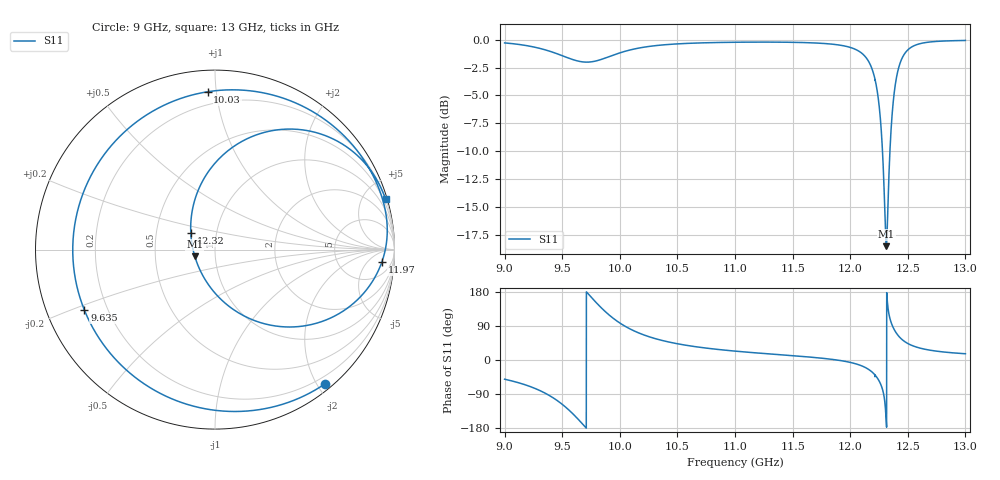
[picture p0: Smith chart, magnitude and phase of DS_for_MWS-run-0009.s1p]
! TOUCHSTONE file generated by CST DESIGN STUDIO
! Date and time: Tue Feb  4 17:09:49 2025
! Project name: C:\Work\MatlabApps\UnitCellOptimizationMatlab\CST\unitcell.cst
! Tree item: Tasks\Sweep1\SPara1\S-Parameters
! Header version: 2024
! Port assignment regex: !\s*Touchstone port\s*([0-9]+)\s*=\s*(CST MWS port|CST DES external port|CST DES block port)\s*(.+)\s* \(\"(.*)\"\)(\s*mode\s*([0-9]+))?.*
! Touchstone port assignment:
! Touchstone port 1 = CST DES external port 1 ("")
# GHz S MA R 50
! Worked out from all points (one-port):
!   4001 points, 9 GHz to 13 GHz, reference 50 ohm
!   lowest |S11| = -18.5 dB at 12.31 GHz (marker M1), VSWR 1.27, Z = 39.8 - j2.97 ohm
!   |S11| at or under -10 dB: 12.28 GHz to 12.34 GHz (64.51 MHz wide, 0.524 % of centre)
!   S11 on the Smith chart (normalised r, x): 9 GHz: 0.09, -2.11; 9.635 GHz: 0.12, -0.22; 10.03 GHz: 0.12, +0.95; 11.97 GHz: 13, -14; 12.32 GHz: 0.75, +0.14; 13 GHz: 0.21, +6.88
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9  0.9667 -50.7
9.257  0.9258 -74.2
9.393  0.8867 -94.5
9.5  0.8472 -116.9
9.635  0.8019 -155.2
9.708  0.7926 -179.4
9.781  0.7997 156.0
9.889  0.8323 123.6
10  0.872 97.6
10.026  0.8805 92.6
10.238  0.9297 63.0
10.5  0.957 42.9
11  0.9732 23.4
11.5  0.9726 11.4
11.969  0.932 -4.3
12  0.9228 -6.3
12.133  0.8364 -20.1
12.218  0.6546 -40.5
12.268  0.403 -66.4
12.3  0.1725 -109.6
12.313  0.1186 -161.9
12.325  0.1623 146.1
12.36  0.4334 95.1
12.397  0.6549 72.7
12.447  0.8185 54.8
12.5  0.8991 43.5
12.665  0.972 27.4
13  0.9913 16.5
